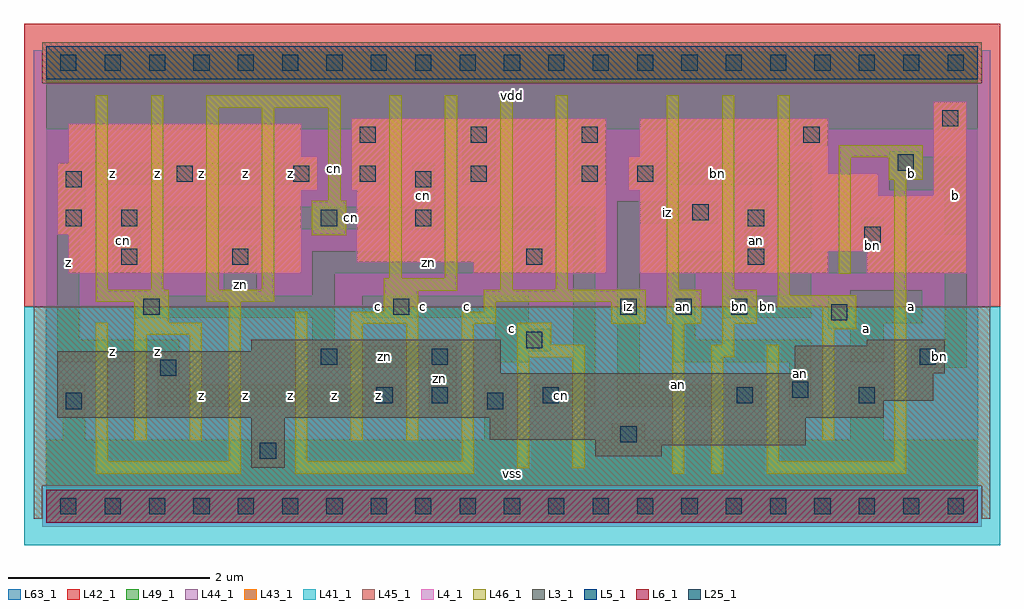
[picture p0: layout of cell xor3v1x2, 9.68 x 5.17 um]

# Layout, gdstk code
import gdstk
lib = gdstk.Library(unit=1e-6, precision=1e-09)
def R(c, l, rs):  # rectangles x0, y0, x1, y1
    for r in rs: c.add(gdstk.rectangle(r[:2], r[2:], *l))
def A(c, l, x, y, w, h, nx, ny, dx, dy):  # array of equal rectangles
    R(c, l, [(x+i*dx, y+j*dy, x+i*dx+w, y+j*dy+h) for i in range(nx) for j in range(ny)])
L3_1 = (3, 1)
L4_1 = (4, 1)
L5_1 = (5, 1)
L6_1 = (6, 1)
L25_1 = (25, 1)
L41_1 = (41, 1)
L42_1 = (42, 1)
L43_1 = (43, 1)
L44_1 = (44, 1)
L45_1 = (45, 1)
L46_1 = (46, 1)
L49_1 = (49, 1)
L63_1 = (63, 1)

xor3v1x2 = lib.new_cell('xor3v1x2')
R(xor3v1x2, L3_1, [(2.035,0.385,2.365,0.88), (5.445,0.495,6.105,0.605), (5.445,0.605,7.535,0.66), (4.4,0.66,7.535,0.88), (0.11,0.88,8.305,1.045), (0.11,1.045,8.8,1.32), (0.11,1.32,4.51,1.54), (7.425,1.32,8.91,1.595), (2.035,1.54,4.51,1.65), (8.14,1.595,8.91,1.65)])
R(xor3v1x2, L4_1, [(0.22,2.31,2.53,2.695), (4.235,2.31,5.555,2.42), (5.885,2.31,7.755,2.53), (8.14,2.31,9.13,2.53), (3.08,2.42,5.555,3.135), (5.885,2.53,9.13,3.08), (0.11,2.695,2.53,3.135), (5.885,3.08,8.25,3.135), (8.8,3.08,9.13,4.015), (0.11,3.135,2.695,3.41), (3.025,3.135,5.555,3.85), (5.775,3.135,8.25,3.3), (5.775,3.3,7.755,3.465), (0.22,3.41,2.695,3.465), (0.22,3.465,2.53,3.795), (5.885,3.465,7.755,3.85)])
R(xor3v1x2, L5_1, [(0,4.235,9.24,4.565)])
R(xor3v1x2, L6_1, [(0,-0.165,9.24,0.165)])
A(xor3v1x2, L25_1, 0.14, -0.08, 0.16, 0.16, 21, 2, 0.44, 4.4)
A(xor3v1x2, L25_1, 5.695, 1.9, 0.16, 0.16, 3, 1, 0.55, 0)
A(xor3v1x2, L25_1, 3.11, 3.22, 0.16, 0.16, 3, 2, 1.1, 0.385)
R(xor3v1x2, L25_1, [(2.12,0.47,2.28,0.63), (5.695,0.635,5.855,0.795), (0.195,0.965,0.355,1.125), (4.375,0.965,4.535,1.125), (3.275,1.02,3.435,1.18), (3.825,1.02,3.985,1.18), (4.925,1.02,5.085,1.18), (6.85,1.02,7.01,1.18), (8.06,1.02,8.22,1.18), (7.4,1.075,7.56,1.235), (1.13,1.295,1.29,1.455), (2.725,1.405,2.885,1.565), (3.825,1.405,3.985,1.565), (8.665,1.405,8.825,1.565), (4.76,1.57,4.92,1.73), (7.785,1.845,7.945,2.005), (0.965,1.9,1.125,2.06), (3.44,1.9,3.6,2.06), (0.745,2.395,0.905,2.555), (1.845,2.395,2.005,2.555), (4.76,2.395,4.92,2.555), (6.96,2.395,7.12,2.555), (8.115,2.615,8.275,2.775), (0.195,2.78,0.355,2.94), (0.745,2.78,0.905,2.94), (2.725,2.78,2.885,2.94), (3.66,2.78,3.82,2.94), (6.96,2.78,7.12,2.94), (6.41,2.835,6.57,2.995), (0.195,3.165,0.355,3.325), (3.66,3.165,3.82,3.325), (1.295,3.22,1.455,3.38), (2.45,3.22,2.61,3.38), (5.86,3.22,6.02,3.38), (8.445,3.33,8.605,3.49), (7.51,3.605,7.67,3.765), (8.885,3.77,9.045,3.93)])
R(xor3v1x2, L41_1, [(-0.22,-0.385,9.46,1.98)])
R(xor3v1x2, L42_1, [(-0.22,1.98,9.46,4.785)])
R(xor3v1x2, L43_1, [(0,-0.165,9.24,0.165), (2.035,0.385,2.365,0.88), (5.445,0.495,6.105,0.605), (5.445,0.605,7.535,0.66), (4.4,0.66,7.535,0.88), (0.11,0.88,8.305,1.045), (0.11,1.045,8.8,1.32), (0.11,1.32,4.51,1.54), (7.425,1.32,8.91,1.595), (2.035,1.54,4.51,1.65), (8.14,1.595,8.91,1.65), (0.22,2.31,2.53,2.695), (4.235,2.31,5.555,2.42), (5.885,2.31,7.755,2.53), (8.14,2.31,9.13,2.53), (3.08,2.42,5.555,3.135), (5.885,2.53,9.13,3.08), (0.11,2.695,2.53,3.135), (5.885,3.08,8.25,3.135), (8.8,3.08,9.13,4.015), (0.11,3.135,2.695,3.41), (3.025,3.135,5.555,3.85), (5.775,3.135,8.25,3.3), (5.775,3.3,7.755,3.465), (0.22,3.41,2.695,3.465), (0.22,3.465,2.53,3.795), (5.885,3.465,7.755,3.85), (0,4.235,9.24,4.565)])
R(xor3v1x2, L44_1, [(-0.04,-0.205,9.28,0.205), (-0.125,1.98,9.365,4.195), (-0.125,4.195,-0.04,4.525), (9.28,4.195,9.365,4.525)])
R(xor3v1x2, L45_1, [(-0.125,-0.125,-0.04,0.205), (9.28,-0.125,9.365,0.205), (-0.125,0.205,9.365,1.98), (-0.04,4.195,9.28,4.605)])
R(xor3v1x2, L46_1, [(0.49,0.325,1.93,0.445), (2.47,0.325,4.24,0.445), (6.21,0.325,6.33,1.81), (6.595,0.325,6.715,1.48), (7.145,0.325,8.53,0.445), (4.67,0.38,4.79,1.48), (5.22,0.38,5.34,1.48), (0.49,0.445,0.61,1.82), (1.81,0.445,1.93,2.03), (2.47,0.445,2.59,1.93), (4.12,0.445,4.24,1.81), (7.145,0.445,7.265,1.6), (8.41,0.445,8.53,3.24), (0.875,0.655,0.995,1.7), (1.425,0.655,1.545,1.7), (3.02,0.655,3.14,1.81), (3.57,0.655,3.69,1.81), (7.695,0.655,7.815,1.755), (4.67,1.48,5.34,1.6), (6.595,1.48,6.825,1.6), (4.67,1.6,5.01,1.82), (6.705,1.6,6.825,1.81), (0.875,1.7,1.545,1.82), (7.695,1.755,8.035,1.975), (3.02,1.81,3.69,1.93), (4.12,1.81,4.46,1.93), (5.605,1.81,5.945,2.03), (6.155,1.81,6.495,2.15), (6.705,1.81,7.045,2.15), (0.875,1.82,1.215,2.03), (3.35,1.93,3.69,2.14), (4.34,1.93,4.46,2.03), (7.255,1.975,8.035,2.095), (0.49,2.03,1.215,2.15), (1.59,2.03,2.26,2.15), (4.34,2.03,5.945,2.15), (7.255,2.095,7.375,4.075), (3.35,2.14,4.075,2.26), (0.49,2.15,0.61,4.075), (1.04,2.15,1.16,4.075), (1.59,2.15,1.71,3.955), (2.14,2.15,2.26,3.955), (4.505,2.15,4.625,4.075), (5.055,2.15,5.175,4.075), (6.155,2.15,6.275,4.075), (6.705,2.15,6.825,4.075), (3.405,2.26,3.525,4.075), (3.955,2.26,4.075,4.075), (7.86,2.305,7.98,3.46), (2.635,2.69,2.975,3.03), (2.8,3.03,2.92,3.955), (8.355,3.24,8.695,3.46), (7.86,3.46,8.695,3.58), (1.59,3.955,2.92,4.075)])
A(xor3v1x2, L49_1, 3.025, 3.19, 0.33, 0.55, 3, 1, 1.1, 0)
R(xor3v1x2, L49_1, [(0,-0.11,9.24,0.66), (0.165,0.66,0.385,1.21), (4.345,0.66,4.565,1.21), (5.61,0.66,5.94,0.825), (7.975,0.66,8.305,1.21), (3.795,0.935,4.07,1.375), (1.1,0.99,3.52,1.21), (4.84,0.99,5.445,1.21), (5.665,0.99,7.095,1.21), (7.37,0.99,7.59,1.43), (1.1,1.21,1.32,1.43), (5.225,1.21,5.445,2.75), (5.665,1.21,5.885,2.805), (2.64,1.375,4.07,1.595), (8.58,1.375,9.13,1.595), (0.11,1.43,1.32,1.65), (4.455,1.43,4.785,1.54), (6.215,1.43,7.59,1.65), (7.975,1.43,8.305,1.76), (4.455,1.54,5.005,1.76), (2.64,1.595,2.86,1.87), (8.91,1.595,9.13,2.31), (0.11,1.65,0.33,2.695), (6.215,1.65,6.435,2.31), (4.455,1.76,4.785,1.87), (7.755,1.76,8.305,1.815), (7.755,1.815,8.69,2.09), (0.88,1.87,2.86,2.09), (3.135,1.87,4.785,2.09), (6.71,1.87,7.59,2.09), (1.76,2.09,2.09,2.585), (2.64,2.09,2.86,2.31), (7.37,2.09,7.59,2.31), (7.975,2.09,8.69,2.145), (0.66,2.31,0.935,2.75), (2.64,2.31,5.005,2.53), (6.215,2.31,7.15,2.53), (7.37,2.31,9.13,2.53), (4.675,2.53,5.005,2.585), (6.93,2.53,7.15,3.025), (7.37,2.53,7.59,3.19), (8.085,2.53,8.305,2.86), (0.11,2.695,0.385,3.19), (8.91,2.695,9.13,3.135), (0.66,2.75,5.445,2.97), (5.665,2.805,6.655,3.025), (3.63,2.97,3.85,3.41), (8.36,3.135,9.13,3.465), (0.11,3.19,2.695,3.41), (5.775,3.19,7.59,3.41), (8.36,3.465,8.69,3.52), (7.425,3.575,7.755,3.74), (0,3.74,9.24,4.51)])
R(xor3v1x2, L63_1, [(0,0,9.24,4.4)])
xor3v1x2.add(gdstk.Label('cn', (2.86,3.355), layer=46, texttype=1))
xor3v1x2.add(gdstk.Label('an', (6.27,1.21), layer=46, texttype=1))
xor3v1x2.add(gdstk.Label('iz', (5.775,1.98), layer=49, texttype=1))
xor3v1x2.add(gdstk.Label('bn', (6.875,1.98), layer=49, texttype=1))
xor3v1x2.add(gdstk.Label('z', (1.1,1.54), layer=49, texttype=1))
xor3v1x2.add(gdstk.Label('z', (0.66,1.54), layer=49, texttype=1))
xor3v1x2.add(gdstk.Label('z', (1.54,1.1), layer=49, texttype=1))
xor3v1x2.add(gdstk.Label('z', (0.22,2.42), layer=49, texttype=1))
xor3v1x2.add(gdstk.Label('cn', (0.77,2.64), layer=49, texttype=1))
xor3v1x2.add(gdstk.Label('z', (0.66,3.3), layer=49, texttype=1))
xor3v1x2.add(gdstk.Label('z', (1.1,3.3), layer=49, texttype=1))
xor3v1x2.add(gdstk.Label('z', (1.54,3.3), layer=49, texttype=1))
xor3v1x2.add(gdstk.Label('z', (1.98,1.1), layer=49, texttype=1))
xor3v1x2.add(gdstk.Label('z', (2.42,1.1), layer=49, texttype=1))
xor3v1x2.add(gdstk.Label('z', (2.86,1.1), layer=49, texttype=1))
xor3v1x2.add(gdstk.Label('z', (3.3,1.1), layer=49, texttype=1))
xor3v1x2.add(gdstk.Label('zn', (1.925,2.2), layer=49, texttype=1))
xor3v1x2.add(gdstk.Label('c', (3.3,1.98), layer=49, texttype=1))
xor3v1x2.add(gdstk.Label('z', (1.98,3.3), layer=49, texttype=1))
xor3v1x2.add(gdstk.Label('z', (2.42,3.3), layer=49, texttype=1))
xor3v1x2.add(gdstk.Label('vss', (4.62,0.33), layer=49, texttype=1))
xor3v1x2.add(gdstk.Label('zn', (3.355,1.485), layer=49, texttype=1))
xor3v1x2.add(gdstk.Label('zn', (3.905,1.265), layer=49, texttype=1))
xor3v1x2.add(gdstk.Label('cn', (5.115,1.1), layer=49, texttype=1))
xor3v1x2.add(gdstk.Label('c', (4.62,1.76), layer=49, texttype=1))
xor3v1x2.add(gdstk.Label('c', (3.74,1.98), layer=49, texttype=1))
xor3v1x2.add(gdstk.Label('zn', (3.795,2.42), layer=49, texttype=1))
xor3v1x2.add(gdstk.Label('c', (4.18,1.98), layer=49, texttype=1))
xor3v1x2.add(gdstk.Label('cn', (3.74,3.08), layer=49, texttype=1))
xor3v1x2.add(gdstk.Label('cn', (3.025,2.86), layer=49, texttype=1))
xor3v1x2.add(gdstk.Label('vdd', (4.62,4.07), layer=49, texttype=1))
xor3v1x2.add(gdstk.Label('iz', (6.38,1.1), layer=49, texttype=1))
xor3v1x2.add(gdstk.Label('an', (6.325,1.98), layer=49, texttype=1))
xor3v1x2.add(gdstk.Label('an', (7.04,2.64), layer=49, texttype=1))
xor3v1x2.add(gdstk.Label('iz', (5.775,1.98), layer=49, texttype=1))
xor3v1x2.add(gdstk.Label('iz', (6.16,2.915), layer=49, texttype=1))
xor3v1x2.add(gdstk.Label('an', (7.48,1.32), layer=49, texttype=1))
xor3v1x2.add(gdstk.Label('bn', (8.855,1.485), layer=49, texttype=1))
xor3v1x2.add(gdstk.Label('a', (8.14,1.76), layer=49, texttype=1))
xor3v1x2.add(gdstk.Label('bn', (7.15,1.98), layer=49, texttype=1))
xor3v1x2.add(gdstk.Label('a', (8.58,1.98), layer=49, texttype=1))
xor3v1x2.add(gdstk.Label('bn', (8.195,2.585), layer=49, texttype=1))
xor3v1x2.add(gdstk.Label('bn', (6.655,3.3), layer=49, texttype=1))
xor3v1x2.add(gdstk.Label('b', (8.58,3.3), layer=49, texttype=1))
xor3v1x2.add(gdstk.Label('b', (9.02,3.08), layer=49, texttype=1))

lib.write_gds('xor3v1x2.gds')
